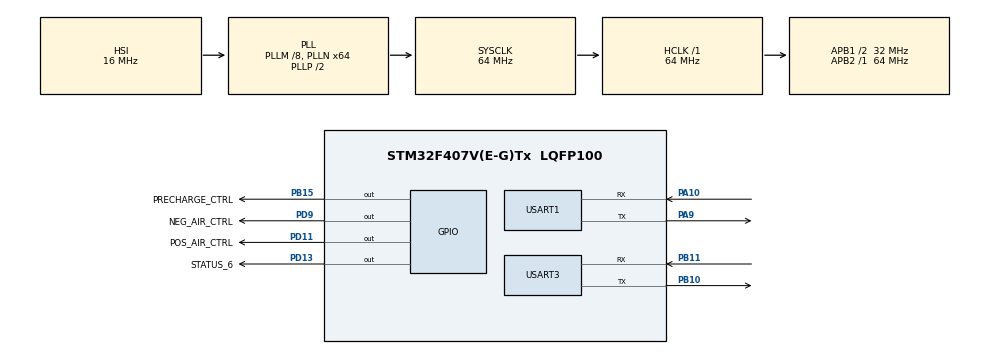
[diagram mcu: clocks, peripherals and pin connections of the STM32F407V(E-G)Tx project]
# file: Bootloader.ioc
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Mcu.Family=STM32F4
Mcu.Name=STM32F407V(E-G)Tx
Mcu.Package=LQFP100
NVIC.PriorityGroup=NVIC_PRIORITYGROUP_4
NVIC.USART1_IRQn=true\:0\:0\:false\:false\:true\:true\:true\:true
PA10.Mode=Asynchronous
PA10.Signal=USART1_RX
PA13.Mode=Serial_Wire
PA13.Signal=SYS_JTMS-SWDIO
PA14.Mode=Serial_Wire
PA14.Signal=SYS_JTCK-SWCLK
PA9.Mode=Asynchronous
PA9.Signal=USART1_TX
PB10.Mode=Asynchronous
PB10.Signal=USART3_TX
PB11.Mode=Asynchronous
PB11.Signal=USART3_RX
PB15.GPIO_Label=PRECHARGE_CTRL
PB15.GPIO_ModeDefaultOutputPP=GPIO_MODE_OUTPUT_OD
PB15.GPIO_PuPd=GPIO_NOPULL
PB15.PinState=GPIO_PIN_RESET
PB15.Signal=GPIO_Output
PD11.GPIO_Label=POS_AIR_CTRL
PD11.GPIO_ModeDefaultOutputPP=GPIO_MODE_OUTPUT_OD
PD11.GPIO_PuPd=GPIO_NOPULL
PD11.PinState=GPIO_PIN_RESET
PD11.Signal=GPIO_Output
PD13.GPIO_Label=STATUS_6
PD13.GPIO_PuPd=GPIO_NOPULL
PD13.Signal=GPIO_Output
PD9.GPIO_Label=NEG_AIR_CTRL
PD9.GPIO_ModeDefaultOutputPP=GPIO_MODE_OUTPUT_OD
PD9.GPIO_PuPd=GPIO_NOPULL
PD9.PinState=GPIO_PIN_RESET
PD9.Signal=GPIO_Output
ProjectManager.HeapSize=0x200
ProjectManager.StackSize=0x400
ProjectManager.TargetToolchain=CMake
RCC.48MHZClocksFreq_Value=32000000
RCC.AHBFreq_Value=64000000
RCC.APB1CLKDivider=RCC_HCLK_DIV2
RCC.APB1Freq_Value=32000000
RCC.APB1TimFreq_Value=64000000
RCC.APB2Freq_Value=64000000
RCC.APB2TimFreq_Value=64000000
RCC.CortexFreq_Value=64000000
RCC.HCLKFreq_Value=64000000
RCC.HSE_VALUE=25000000
RCC.HSI_VALUE=16000000
RCC.LSE_VALUE=32768
RCC.PLLM=8
RCC.PLLN=64
RCC.SYSCLKFreq_VALUE=64000000
RCC.SYSCLKSource=RCC_SYSCLKSOURCE_PLLCLK
RCC.VCOOutputFreq_Value=128000000
USART1.VirtualMode=VM_ASYNC
USART3.VirtualMode=VM_ASYNC
VP_CRC_VS_CRC.Mode=CRC_Activate
board=custom

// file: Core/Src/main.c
/* USER CODE BEGIN Header */
/**
  ******************************************************************************
  * @file           : main.c
  * @brief          : Main program body
  ******************************************************************************
  * @attention
  *
  * Copyright (c) 2026 STMicroelectronics.
  * All rights reserved.
  *
  * This software is licensed under terms that can be found in the LICENSE file
  * in the root directory of this software component.
  * If no LICENSE file comes with this software, it is provided AS-IS.
  *
  ******************************************************************************
  */
/* USER CODE END Header */
#include "main.h"

/* USER CODE BEGIN Includes */
#include <stdbool.h>
#include <string.h>

/* USER CODE END Includes */

/* USER CODE BEGIN PTD */
typedef struct
{
  uint8_t command;
  uint16_t sequence;
  uint16_t length;
  uint8_t payload[260];
} boot_frame_t;

typedef enum
{
  FRAME_OK = 0,
  FRAME_TIMEOUT,
  FRAME_BAD_LENGTH,
  FRAME_BAD_CRC,
  FRAME_INCOMPLETE
} frame_result_t;

typedef struct
{
  uint8_t buffer[2U + 6U + 260U + 2U];
  uint16_t index;
  uint16_t expected_length;
} boot_stream_parser_t;

typedef struct
{
  uint32_t magic;
  uint32_t magic_inverse;
  uint32_t image_length;
  uint32_t image_crc32;
  uint32_t crc_inverse;
} app_metadata_t;

/* USER CODE END PTD */

/* USER CODE BEGIN PD */
#define APP_START_ADDRESS       0x08010000UL
#define APP_CONFIG_ADDRESS      0x080C0000UL
#define APP_METADATA_ADDRESS    0x080FFF00UL
#define APP_MAX_IMAGE_SIZE      (APP_CONFIG_ADDRESS - APP_START_ADDRESS)
#define APP_METADATA_MAGIC      0xB00710ADUL
#define BOOT_REQUEST_MAGIC      0xB007B007UL

#define MAIN_SRAM_START         0x20000000UL
#define MAIN_SRAM_END           0x20020000UL
#define CCM_SRAM_START          0x10000000UL
#define CCM_SRAM_END            0x10010000UL

#define BOOT_MAGIC_0            0xB5U
#define BOOT_MAGIC_1            0x4DU
#define BOOT_PROTOCOL_VERSION   1U
#define BOOT_MAX_PAYLOAD        260U
#define BOOT_WAIT_MS            500U
#define BOOT_FRAME_TIMEOUT_MS   1000U
#define BOOT_SESSION_IDLE_MS    5000U
#define BOOT_IMAGE_READY_MS     6000U

#define BOOT_CMD_HELLO          0x30U
#define BOOT_CMD_BEGIN          0x31U
#define BOOT_CMD_DATA           0x32U
#define BOOT_CMD_END            0x33U
#define BOOT_CMD_RUN            0x34U
#define BOOT_MSG_ACK            0x02U
#define BOOT_MSG_NACK           0x03U

#define BOOT_RESULT_OK          0U
#define BOOT_RESULT_BAD_CRC     1U
#define BOOT_RESULT_BAD_LENGTH  2U
#define BOOT_RESULT_BAD_COMMAND 3U
#define BOOT_RESULT_BAD_STATE   4U
#define BOOT_RESULT_BAD_SEQ     5U
#define BOOT_RESULT_FLASH       6U
#define BOOT_RESULT_IMAGE_CRC   7U
#define BOOT_RESULT_VECTOR      8U

/* USER CODE END PD */

CRC_HandleTypeDef hcrc;

UART_HandleTypeDef huart1;
UART_HandleTypeDef huart3;

/* USER CODE BEGIN PV */
static boot_frame_t rx_frame;
static boot_stream_parser_t detection_parsers[2];
static UART_HandleTypeDef *boot_uart;
/* IAP 收帧同时轮询这两个口：USART1(PA9/PA10) 与 USART3(PB10/PB11)，与 APP 侧
 * 的主机链路一致（APP 用 telemetry_serial_init(&huart1, &huart3)）。
 * 首帧从哪个口进来，本次升级会话就固定用哪个口回 ACK / 收数据 / 收 RUN。 */
static UART_HandleTypeDef *const boot_ports[] = {&huart1, &huart3};
#define BOOT_PORT_COUNT (sizeof(boot_ports) / sizeof(boot_ports[0]))

/* USER CODE END PV */

void SystemClock_Config(void);
static void MX_GPIO_Init(void);
static void MX_CRC_Init(void);
static void MX_USART3_UART_Init(void);
static void MX_USART1_UART_Init(void);
/* USER CODE BEGIN PFP */
static uint16_t get_u16_le(const uint8_t *data);
static uint32_t get_u32_le(const uint8_t *data);
static void put_u16_le(uint8_t *data, uint16_t value);
static uint16_t crc16_modbus(const uint8_t *data, uint32_t length);
static uint32_t crc32_ieee(const uint8_t *data, uint32_t length);
static frame_result_t receive_frame(UART_HandleTypeDef *uart, boot_frame_t *frame,
                                    uint32_t first_byte_timeout);
static frame_result_t parser_feed(boot_stream_parser_t *parser, uint8_t byte,
                                  boot_frame_t *frame);
static frame_result_t receive_frame_any(boot_frame_t *frame, uint32_t timeout);
static void send_response(uint8_t command, uint16_t sequence, uint8_t result,
                          uint16_t expected_sequence);
static bool consume_boot_request(void);
static bool app_vector_is_valid(uint32_t image_length);
static bool app_image_is_valid(void);
static bool erase_app_sectors(void);
static bool program_flash_bytes(uint32_t address, const uint8_t *data, uint32_t length);
static bool write_app_metadata(uint32_t image_length, uint32_t image_crc32);
static void run_upgrade_session(uint16_t expected_sequence, uint16_t hello_sequence);
static void jump_to_app(void) __attribute__((noreturn));

/* USER CODE END PFP */

/* USER CODE BEGIN 0 */
static uint16_t get_u16_le(const uint8_t *data)
{
  return (uint16_t)data[0] | ((uint16_t)data[1] << 8);
}

static uint32_t get_u32_le(const uint8_t *data)
{
  return (uint32_t)data[0] | ((uint32_t)data[1] << 8) |
         ((uint32_t)data[2] << 16) | ((uint32_t)data[3] << 24);
}

static void put_u16_le(uint8_t *data, uint16_t value)
{
  data[0] = (uint8_t)value;
  data[1] = (uint8_t)(value >> 8);
}

static uint16_t crc16_modbus(const uint8_t *data, uint32_t length)
{
  uint16_t crc = 0xFFFFU;

  while (length-- > 0U)
  {
    crc ^= *data++;
    for (uint8_t bit = 0; bit < 8U; ++bit)
    {
      crc = (crc & 1U) ? (uint16_t)((crc >> 1) ^ 0xA001U) : (uint16_t)(crc >> 1);
    }
  }
  return crc;
}

/* Standard reflected CRC-32: polynomial 0xEDB88320, init/final XOR 0xFFFFFFFF. */
static uint32_t crc32_ieee(const uint8_t *data, uint32_t length)
{
  static const uint32_t nibble_table[16] = {
      0x00000000UL, 0x1DB71064UL, 0x3B6E20C8UL, 0x26D930ACUL,
      0x76DC4190UL, 0x6B6B51F4UL, 0x4DB26158UL, 0x5005713CUL,
      0xEDB88320UL, 0xF00F9344UL, 0xD6D6A3E8UL, 0xCB61B38CUL,
      0x9B64C2B0UL, 0x86D3D2D4UL, 0xA00AE278UL, 0xBDBDF21CUL,
  };
  uint32_t crc = 0xFFFFFFFFUL;

  while (length-- > 0U)
  {
    crc ^= *data++;
    crc = (crc >> 4) ^ nibble_table[crc & 0x0FUL];
    crc = (crc >> 4) ^ nibble_table[crc & 0x0FUL];
  }
  return crc ^ 0xFFFFFFFFUL;
}

static frame_result_t receive_frame(UART_HandleTypeDef *uart, boot_frame_t *frame,
                                    uint32_t first_byte_timeout)
{
  uint8_t byte = 0U;
  uint8_t header[6];
  uint8_t crc_bytes[2];
  uint8_t crc_input[6U + BOOT_MAX_PAYLOAD];
  uint32_t start = HAL_GetTick();
  bool have_first_magic = false;

  if (__HAL_UART_GET_FLAG(uart, UART_FLAG_ORE) != RESET)
  {
    __HAL_UART_CLEAR_OREFLAG(uart);
  }

  for (;;)
  {
    uint32_t timeout = first_byte_timeout;
    if (first_byte_timeout != HAL_MAX_DELAY)
    {
      uint32_t elapsed = HAL_GetTick() - start;
      if (elapsed >= first_byte_timeout)
      {
        return FRAME_TIMEOUT;
      }
      timeout = first_byte_timeout - elapsed;
    }

    if (HAL_UART_Receive(uart, &byte, 1U, timeout) != HAL_OK)
    {
      return FRAME_TIMEOUT;
    }

    if (!have_first_magic)
    {
      have_first_magic = (byte == BOOT_MAGIC_0);
      continue;
    }
    if (byte == BOOT_MAGIC_1)
    {
      break;
    }
    have_first_magic = (byte == BOOT_MAGIC_0);
  }

  if (HAL_UART_Receive(uart, header, sizeof(header), BOOT_FRAME_TIMEOUT_MS) != HAL_OK)
  {
    return FRAME_TIMEOUT;
  }

  frame->command = header[1];
  frame->sequence = get_u16_le(&header[2]);
  frame->length = get_u16_le(&header[4]);
  if ((header[0] != BOOT_PROTOCOL_VERSION) || (frame->length > BOOT_MAX_PAYLOAD))
  {
    return FRAME_BAD_LENGTH;
  }

  if ((frame->length > 0U) &&
      (HAL_UART_Receive(uart, frame->payload, frame->length, BOOT_FRAME_TIMEOUT_MS) != HAL_OK))
  {
    return FRAME_TIMEOUT;
  }
  if (HAL_UART_Receive(uart, crc_bytes, sizeof(crc_bytes), BOOT_FRAME_TIMEOUT_MS) != HAL_OK)
  {
    return FRAME_TIMEOUT;
  }

  memcpy(crc_input, header, sizeof(header));
  memcpy(&crc_input[sizeof(header)], frame->payload, frame->length);
  if (crc16_modbus(crc_input, sizeof(header) + frame->length) != get_u16_le(crc_bytes))
  {
    return FRAME_BAD_CRC;
  }
  return FRAME_OK;
}

static frame_result_t parser_feed(boot_stream_parser_t *parser, uint8_t byte,
                                  boot_frame_t *frame)
{
  if (parser->index == 0U)
  {
    if (byte == BOOT_MAGIC_0)
    {
      parser->buffer[parser->index++] = byte;
    }
    return FRAME_INCOMPLETE;
  }

  if (parser->index == 1U)
  {
    if (byte == BOOT_MAGIC_1)
    {
      parser->buffer[parser->index++] = byte;
    }
    else
    {
      parser->index = (byte == BOOT_MAGIC_0) ? 1U : 0U;
      parser->buffer[0] = BOOT_MAGIC_0;
    }
    return FRAME_INCOMPLETE;
  }

  if (parser->index >= sizeof(parser->buffer))
  {
    parser->index = 0U;
    parser->expected_length = 0U;
    return FRAME_BAD_LENGTH;
  }
  parser->buffer[parser->index++] = byte;

  if (parser->index == 8U)
  {
    frame->command = parser->buffer[3];
    frame->sequence = get_u16_le(&parser->buffer[4]);
    frame->length = get_u16_le(&parser->buffer[6]);
    if ((parser->buffer[2] != BOOT_PROTOCOL_VERSION) ||
        (frame->length > BOOT_MAX_PAYLOAD))
    {
      parser->index = 0U;
      parser->expected_length = 0U;
      return FRAME_BAD_LENGTH;
    }
    parser->expected_length = (uint16_t)(2U + 6U + frame->length + 2U);
  }

  if ((parser->expected_length > 0U) && (parser->index >= parser->expected_length))
  {
    uint16_t received_crc = get_u16_le(&parser->buffer[8U + frame->length]);
    uint16_t computed_crc = crc16_modbus(&parser->buffer[2], 6U + frame->length);
    if (frame->length > 0U)
    {
      memcpy(frame->payload, &parser->buffer[8], frame->length);
    }
    parser->index = 0U;
    parser->expected_length = 0U;
    return (received_crc == computed_crc) ? FRAME_OK : FRAME_BAD_CRC;
  }
  return FRAME_INCOMPLETE;
}

static frame_result_t receive_frame_any(boot_frame_t *frame, uint32_t timeout)
{
  uint32_t start = HAL_GetTick();

  for (;;)
  {
    for (uint32_t port = 0U; port < BOOT_PORT_COUNT; ++port)
    {
      UART_HandleTypeDef *uart = boot_ports[port];
      if (__HAL_UART_GET_FLAG(uart, UART_FLAG_ORE) != RESET)
      {
        __HAL_UART_CLEAR_OREFLAG(uart);
      }
      if (__HAL_UART_GET_FLAG(uart, UART_FLAG_RXNE) != RESET)
      {
        uint8_t byte = (uint8_t)(uart->Instance->DR & 0xFFU);
        frame_result_t result = parser_feed(&detection_parsers[port], byte, frame);
        if (result != FRAME_INCOMPLETE)
        {
          boot_uart = uart;
          return result;
        }
      }
    }

    if ((timeout != HAL_MAX_DELAY) && ((HAL_GetTick() - start) >= timeout))
    {
      return FRAME_TIMEOUT;
    }
  }
}

static bool consume_boot_request(void)
{
  bool requested;

  __HAL_RCC_PWR_CLK_ENABLE();
  HAL_PWR_EnableBkUpAccess();
  requested = (RTC->BKP0R == BOOT_REQUEST_MAGIC) &&
              (RTC->BKP1R == ~BOOT_REQUEST_MAGIC);
  if (requested)
  {
    RTC->BKP0R = 0U;
    RTC->BKP1R = 0U;
  }
  HAL_PWR_DisableBkUpAccess();
  return requested;
}

static void send_response(uint8_t command, uint16_t sequence, uint8_t result,
                          uint16_t expected_sequence)
{
  uint8_t frame[16];
  const uint16_t payload_length = 6U;
  const uint8_t message_type = (result == BOOT_RESULT_OK) ? BOOT_MSG_ACK : BOOT_MSG_NACK;

  frame[0] = BOOT_MAGIC_0;
  frame[1] = BOOT_MAGIC_1;
  frame[2] = BOOT_PROTOCOL_VERSION;
  frame[3] = message_type;
  put_u16_le(&frame[4], sequence);
  put_u16_le(&frame[6], payload_length);
  put_u16_le(&frame[8], sequence);
  frame[10] = command;
  frame[11] = result;
  put_u16_le(&frame[12], expected_sequence);
  put_u16_le(&frame[14], crc16_modbus(&frame[2], 12U));
  if (boot_uart != NULL)
  {
    (void)HAL_UART_Transmit(boot_uart, frame, sizeof(frame), BOOT_FRAME_TIMEOUT_MS);
  }
}

static bool app_vector_is_valid(uint32_t image_length)
{
  uint32_t stack = *(volatile const uint32_t *)APP_START_ADDRESS;
  uint32_t reset = *(volatile const uint32_t *)(APP_START_ADDRESS + 4U);
  uint32_t reset_address = reset & ~1UL;
  bool stack_in_main_sram = (stack > MAIN_SRAM_START) && (stack <= MAIN_SRAM_END);
  bool stack_in_ccm_sram = (stack > CCM_SRAM_START) && (stack <= CCM_SRAM_END);

  if ((image_length < 8U) || (image_length > APP_MAX_IMAGE_SIZE))
  {
    return false;
  }
  if (((stack & 7UL) != 0U) || (!stack_in_main_sram && !stack_in_ccm_sram))
  {
    return false;
  }
  if (((reset & 1UL) == 0U) || (reset_address < APP_START_ADDRESS) ||
      (reset_address >= (APP_START_ADDRESS + image_length)))
  {
    return false;
  }
  return true;
}

static bool app_image_is_valid(void)
{
  const volatile app_metadata_t *metadata =
      (const volatile app_metadata_t *)APP_METADATA_ADDRESS;

  if ((metadata->magic != APP_METADATA_MAGIC) ||
      (metadata->magic_inverse != ~APP_METADATA_MAGIC) ||
      (metadata->crc_inverse != ~metadata->image_crc32) ||
      !app_vector_is_valid(metadata->image_length))
  {
    return false;
  }
  return crc32_ieee((const uint8_t *)APP_START_ADDRESS, metadata->image_length) ==
         metadata->image_crc32;
}

static bool erase_app_sectors(void)
{
  FLASH_EraseInitTypeDef erase = {0};
  uint32_t sector_error = 0U;
  HAL_StatusTypeDef status;

  if (HAL_FLASH_Unlock() != HAL_OK)
  {
    return false;
  }
  __HAL_FLASH_CLEAR_FLAG(FLASH_FLAG_EOP | FLASH_FLAG_OPERR | FLASH_FLAG_WRPERR |
                         FLASH_FLAG_PGAERR | FLASH_FLAG_PGPERR | FLASH_FLAG_PGSERR);
  erase.TypeErase = FLASH_TYPEERASE_SECTORS;
  erase.VoltageRange = FLASH_VOLTAGE_RANGE_3;
  erase.Sector = FLASH_SECTOR_4;
  /* 只擦 4~9（0x08010000..0x080BFFFF，共 704KB = APP 链接脚本的 FLASH LENGTH）。
   * 必须**止步于 Sector 9**：Sector 10 (0x080C0000) 是 APP 的持久化配置/SOC 追加区
   * （APP_CONFIG_ADDRESS，见 bms_config.h），之前连擦到 Sector 11 会把 total_ic、
   * 保护阈值和 SOC 一起抹掉，每次 OTA 后静默回默认值。
   * Sector 11 (0x080FFF00 元数据) 也不在擦除范围：由 write_app_metadata() 显式改写，
   * 且旧的 image_crc32 对不上已被擦成 0xFF 的镜像，启动校验自然失败。 */
  erase.NbSectors = 6U;
  status = HAL_FLASHEx_Erase(&erase, &sector_error);
  (void)HAL_FLASH_Lock();
  return (status == HAL_OK) && (sector_error == 0xFFFFFFFFUL);
}

static bool program_flash_bytes(uint32_t address, const uint8_t *data, uint32_t length)
{
  uint32_t end = address + length;

  if ((length == 0U) || (address < APP_START_ADDRESS) || (end < address) ||
      (end > APP_CONFIG_ADDRESS))
  {
    return false;
  }
  if (HAL_FLASH_Unlock() != HAL_OK)
  {
    return false;
  }

  for (uint32_t index = 0U; index < length; ++index)
  {
    if (HAL_FLASH_Program(FLASH_TYPEPROGRAM_BYTE, address + index, data[index]) != HAL_OK)
    {
      (void)HAL_FLASH_Lock();
      return false;
    }
  }
  (void)HAL_FLASH_Lock();
  return memcmp((const void *)address, data, length) == 0;
}

static bool write_app_metadata(uint32_t image_length, uint32_t image_crc32)
{
  uint32_t values[5] = {
      APP_METADATA_MAGIC,
      ~APP_METADATA_MAGIC,
      image_length,
      image_crc32,
      ~image_crc32,
  };

  if (HAL_FLASH_Unlock() != HAL_OK)
  {
    return false;
  }

  /* Write the magic last: a reset at any earlier point leaves the APP invalid. */
  for (uint32_t index = 1U; index < 5U; ++index)
  {
    if (HAL_FLASH_Program(FLASH_TYPEPROGRAM_WORD,
                          APP_METADATA_ADDRESS + index * sizeof(uint32_t), values[index]) != HAL_OK)
    {
      (void)HAL_FLASH_Lock();
      return false;
    }
  }
  if (HAL_FLASH_Program(FLASH_TYPEPROGRAM_WORD, APP_METADATA_ADDRESS, values[0]) != HAL_OK)
  {
    (void)HAL_FLASH_Lock();
    return false;
  }
  (void)HAL_FLASH_Lock();
  return true;
}

static void jump_to_app(void)
{
  uint32_t app_stack = *(volatile const uint32_t *)APP_START_ADDRESS;
  uint32_t app_reset = *(volatile const uint32_t *)(APP_START_ADDRESS + 4U);

  __disable_irq();
  (void)HAL_UART_DeInit(&huart1);
  (void)HAL_UART_DeInit(&huart3);
  (void)HAL_CRC_DeInit(&hcrc);
  (void)HAL_DeInit();
  (void)HAL_RCC_DeInit();

  SysTick->CTRL = 0U;
  SysTick->LOAD = 0U;
  SysTick->VAL = 0U;
  SCB->ICSR = SCB_ICSR_PENDSTCLR_Msk | SCB_ICSR_PENDSVCLR_Msk;

  for (uint32_t index = 0U; index < 8U; ++index)
  {
    NVIC->ICER[index] = 0xFFFFFFFFUL;
    NVIC->ICPR[index] = 0xFFFFFFFFUL;
  }

  SCB->VTOR = APP_START_ADDRESS;
  __set_CONTROL(0U);
  __set_PSP(0U);
  __DSB();
  __ISB();

  /* Do not execute C code after changing MSP: the compiler may use the old frame. */
  __asm volatile(
      "msr msp, %0\n"
      "cpsie i\n"
      "bx %1\n"
      :
      : "r"(app_stack), "r"(app_reset)
      : "memory");
  __builtin_unreachable();
}

static void run_upgrade_session(uint16_t expected_sequence, uint16_t hello_sequence)
{
  enum { WAIT_BEGIN, RECEIVE_IMAGE, IMAGE_READY } state = WAIT_BEGIN;
  uint16_t last_acked_sequence = hello_sequence;
  uint8_t last_acked_command = BOOT_CMD_HELLO;
  uint32_t expected_length = 0U;
  uint32_t expected_crc32 = 0U;
  uint32_t bytes_written = 0U;
  uint32_t image_ready_started = 0U;

  for (;;)
  {
    uint32_t idle_timeout = BOOT_SESSION_IDLE_MS;
    if (state == IMAGE_READY)
    {
      uint32_t ready_elapsed = HAL_GetTick() - image_ready_started;
      if (ready_elapsed >= BOOT_IMAGE_READY_MS)
      {
        jump_to_app();
      }
      idle_timeout = BOOT_IMAGE_READY_MS - ready_elapsed;
    }
    frame_result_t frame_status = receive_frame(boot_uart, &rx_frame, idle_timeout);

    if (frame_status == FRAME_TIMEOUT)
    {
      if (state == IMAGE_READY || ((state == WAIT_BEGIN) && app_image_is_valid()))
      {
        jump_to_app();
      }

      /* APP 已被擦除时返回握手阶段，允许主机重新建立完整升级会话。 */
      return;
    }

    if (frame_status == FRAME_BAD_CRC)
    {
      send_response(rx_frame.command, rx_frame.sequence, BOOT_RESULT_BAD_CRC,
                    expected_sequence);
      continue;
    }
    if (frame_status == FRAME_BAD_LENGTH)
    {
      send_response(rx_frame.command, rx_frame.sequence, BOOT_RESULT_BAD_LENGTH,
                    expected_sequence);
      continue;
    }
    if (frame_status != FRAME_OK)
    {
      continue;
    }

    if ((rx_frame.sequence == last_acked_sequence) &&
        (rx_frame.command == last_acked_command))
    {
      send_response(rx_frame.command, rx_frame.sequence, BOOT_RESULT_OK,
                    expected_sequence);
      continue;
    }
    if (rx_frame.sequence != expected_sequence)
    {
      send_response(rx_frame.command, rx_frame.sequence, BOOT_RESULT_BAD_SEQ,
                    expected_sequence);
      continue;
    }

    uint8_t result = BOOT_RESULT_OK;
    switch (rx_frame.command)
    {
      case BOOT_CMD_BEGIN:
        if (rx_frame.length != 8U)
        {
          result = BOOT_RESULT_BAD_LENGTH;
          break;
        }
        expected_length = get_u32_le(&rx_frame.payload[0]);
        expected_crc32 = get_u32_le(&rx_frame.payload[4]);
        if ((expected_length < 8U) || (expected_length > APP_MAX_IMAGE_SIZE))
        {
          result = BOOT_RESULT_BAD_LENGTH;
          break;
        }
        if (!erase_app_sectors())
        {
          state = WAIT_BEGIN;
          result = BOOT_RESULT_FLASH;
          break;
        }
        bytes_written = 0U;
        state = RECEIVE_IMAGE;
        break;

      case BOOT_CMD_DATA:
      {
        if (state != RECEIVE_IMAGE)
        {
          result = BOOT_RESULT_BAD_STATE;
          break;
        }
        if (rx_frame.length <= 4U)
        {
          result = BOOT_RESULT_BAD_LENGTH;
          break;
        }
        uint32_t offset = get_u32_le(&rx_frame.payload[0]);
        uint32_t data_length = rx_frame.length - 4U;
        if ((offset != bytes_written) || (data_length > (expected_length - bytes_written)))
        {
          result = BOOT_RESULT_BAD_LENGTH;
          break;
        }
        if (!program_flash_bytes(APP_START_ADDRESS + offset, &rx_frame.payload[4], data_length))
        {
          state = WAIT_BEGIN;
          result = BOOT_RESULT_FLASH;
          break;
        }
        bytes_written += data_length;
        break;
      }

      case BOOT_CMD_END:
        if ((state != RECEIVE_IMAGE) || (rx_frame.length != 0U))
        {
          result = BOOT_RESULT_BAD_STATE;
          break;
        }
        if (bytes_written != expected_length)
        {
          result = BOOT_RESULT_BAD_LENGTH;
          break;
        }
        if (crc32_ieee((const uint8_t *)APP_START_ADDRESS, expected_length) != expected_crc32)
        {
          state = WAIT_BEGIN;
          result = BOOT_RESULT_IMAGE_CRC;
          break;
        }
        if (!app_vector_is_valid(expected_length))
        {
          state = WAIT_BEGIN;
          result = BOOT_RESULT_VECTOR;
          break;
        }
        if (!write_app_metadata(expected_length, expected_crc32) || !app_image_is_valid())
        {
          state = WAIT_BEGIN;
          result = BOOT_RESULT_FLASH;
          break;
        }
        state = IMAGE_READY;
        image_ready_started = HAL_GetTick();
        break;

      case BOOT_CMD_RUN:
        if ((state != IMAGE_READY) || (rx_frame.length != 0U))
        {
          result = BOOT_RESULT_BAD_STATE;
          break;
        }
        send_response(rx_frame.command, rx_frame.sequence, BOOT_RESULT_OK,
                      (uint16_t)(expected_sequence + 1U));
        HAL_Delay(20U);
        jump_to_app();
        break;

      default:
        result = BOOT_RESULT_BAD_COMMAND;
        break;
    }

    if (result == BOOT_RESULT_OK)
    {
      last_acked_sequence = rx_frame.sequence;
      last_acked_command = rx_frame.command;
      ++expected_sequence;
    }
    /* A successful response advertises the sequence number of the next command. */
    send_response(rx_frame.command, rx_frame.sequence, result, expected_sequence);
  }
}

/* USER CODE END 0 */

int main(void)
{

  /* MCU Configuration--------------------------------------------------------*/

  /* Reset of all peripherals, Initializes the Flash interface and the Systick. */
  HAL_Init();

  /* Configure the system clock */
  SystemClock_Config();

  /* Initialize all configured peripherals */
  MX_GPIO_Init();
  MX_CRC_Init();
  MX_USART3_UART_Init();
  MX_USART1_UART_Init();
  /* USER CODE BEGIN 2 */
  boot_uart = NULL;
  bool force_upgrade = consume_boot_request();
  bool valid_app = app_image_is_valid();
  uint32_t wait_started = HAL_GetTick();

  HAL_GPIO_WritePin(STATUS_6_GPIO_Port, STATUS_6_Pin, GPIO_PIN_SET);

  for (;;)
  {
    uint32_t timeout = HAL_MAX_DELAY;
    if (valid_app && !force_upgrade)
    {
      uint32_t elapsed = HAL_GetTick() - wait_started;
      if (elapsed >= BOOT_WAIT_MS)
      {
        jump_to_app();
      }
      timeout = BOOT_WAIT_MS - elapsed;
    }

    frame_result_t frame_status = receive_frame_any(&rx_frame, timeout);
    if (frame_status == FRAME_TIMEOUT)
    {
      if (valid_app && !force_upgrade)
      {
        jump_to_app();
      }
      continue;
    }
    if (frame_status == FRAME_BAD_CRC)
    {
      send_response(rx_frame.command, rx_frame.sequence, BOOT_RESULT_BAD_CRC, 0U);
      continue;
    }
    if (frame_status == FRAME_BAD_LENGTH)
    {
      send_response(rx_frame.command, rx_frame.sequence, BOOT_RESULT_BAD_LENGTH, 0U);
      continue;
    }
    if ((rx_frame.command != BOOT_CMD_HELLO) || (rx_frame.length != 0U))
    {
      send_response(rx_frame.command, rx_frame.sequence, BOOT_RESULT_BAD_COMMAND, 0U);
      continue;
    }

    uint16_t expected_sequence = (uint16_t)(rx_frame.sequence + 1U);
    send_response(rx_frame.command, rx_frame.sequence, BOOT_RESULT_OK, expected_sequence);
    run_upgrade_session(expected_sequence, rx_frame.sequence);
    valid_app = app_image_is_valid();
    force_upgrade = false;
    wait_started = HAL_GetTick();
  }

  /* USER CODE END 2 */

  /* Infinite loop */
  while (1)
  {

  }
}

void SystemClock_Config(void)
{
  RCC_OscInitTypeDef RCC_OscInitStruct = {0};
  RCC_ClkInitTypeDef RCC_ClkInitStruct = {0};

  /** Configure the main internal regulator output voltage
  */
  __HAL_RCC_PWR_CLK_ENABLE();
  __HAL_PWR_VOLTAGESCALING_CONFIG(PWR_REGULATOR_VOLTAGE_SCALE1);

  /** Initializes the RCC Oscillators according to the specified parameters
  * in the RCC_OscInitTypeDef structure.
  */
  RCC_OscInitStruct.OscillatorType = RCC_OSCILLATORTYPE_HSI;
  RCC_OscInitStruct.HSIState = RCC_HSI_ON;
  RCC_OscInitStruct.HSICalibrationValue = RCC_HSICALIBRATION_DEFAULT;
  RCC_OscInitStruct.PLL.PLLState = RCC_PLL_ON;
  RCC_OscInitStruct.PLL.PLLSource = RCC_PLLSOURCE_HSI;
  RCC_OscInitStruct.PLL.PLLM = 8;
  RCC_OscInitStruct.PLL.PLLN = 64;
  RCC_OscInitStruct.PLL.PLLP = RCC_PLLP_DIV2;
  RCC_OscInitStruct.PLL.PLLQ = 4;
  if (HAL_RCC_OscConfig(&RCC_OscInitStruct) != HAL_OK)
  {
    Error_Handler();
  }

  /** Initializes the CPU, AHB and APB buses clocks
  */
  RCC_ClkInitStruct.ClockType = RCC_CLOCKTYPE_HCLK|RCC_CLOCKTYPE_SYSCLK
                              |RCC_CLOCKTYPE_PCLK1|RCC_CLOCKTYPE_PCLK2;
  RCC_ClkInitStruct.SYSCLKSource = RCC_SYSCLKSOURCE_PLLCLK;
  RCC_ClkInitStruct.AHBCLKDivider = RCC_SYSCLK_DIV1;
  RCC_ClkInitStruct.APB1CLKDivider = RCC_HCLK_DIV2;
  RCC_ClkInitStruct.APB2CLKDivider = RCC_HCLK_DIV1;

  if (HAL_RCC_ClockConfig(&RCC_ClkInitStruct, FLASH_LATENCY_2) != HAL_OK)
  {
    Error_Handler();
  }
}

static void MX_CRC_Init(void)
{

  hcrc.Instance = CRC;
  if (HAL_CRC_Init(&hcrc) != HAL_OK)
  {
    Error_Handler();
  }

}

static void MX_USART1_UART_Init(void)
{

  huart1.Instance = USART1;
  huart1.Init.BaudRate = 115200;
  huart1.Init.WordLength = UART_WORDLENGTH_8B;
  huart1.Init.StopBits = UART_STOPBITS_1;
  huart1.Init.Parity = UART_PARITY_NONE;
  huart1.Init.Mode = UART_MODE_TX_RX;
  huart1.Init.HwFlowCtl = UART_HWCONTROL_NONE;
  huart1.Init.OverSampling = UART_OVERSAMPLING_16;
  if (HAL_UART_Init(&huart1) != HAL_OK)
  {
    Error_Handler();
  }

}

static void MX_USART3_UART_Init(void)
{

  huart3.Instance = USART3;
  huart3.Init.BaudRate = 115200;
  huart3.Init.WordLength = UART_WORDLENGTH_8B;
  huart3.Init.StopBits = UART_STOPBITS_1;
  huart3.Init.Parity = UART_PARITY_NONE;
  huart3.Init.Mode = UART_MODE_TX_RX;
  huart3.Init.HwFlowCtl = UART_HWCONTROL_NONE;
  huart3.Init.OverSampling = UART_OVERSAMPLING_16;
  if (HAL_UART_Init(&huart3) != HAL_OK)
  {
    Error_Handler();
  }

}

static void MX_GPIO_Init(void)
{
  GPIO_InitTypeDef GPIO_InitStruct = {0};

  /* GPIO Ports Clock Enable */
  __HAL_RCC_GPIOB_CLK_ENABLE();
  __HAL_RCC_GPIOD_CLK_ENABLE();
  __HAL_RCC_GPIOA_CLK_ENABLE();

  /*Configure GPIO pin Output Level */
  HAL_GPIO_WritePin(PRECHARGE_CTRL_GPIO_Port, PRECHARGE_CTRL_Pin, GPIO_PIN_RESET);

  /*Configure GPIO pin Output Level */
  HAL_GPIO_WritePin(GPIOD, NEG_AIR_CTRL_Pin|POS_AIR_CTRL_Pin|STATUS_6_Pin, GPIO_PIN_RESET);

  /*Configure GPIO pin : PRECHARGE_CTRL_Pin */
  GPIO_InitStruct.Pin = PRECHARGE_CTRL_Pin;
  GPIO_InitStruct.Mode = GPIO_MODE_OUTPUT_OD;
  GPIO_InitStruct.Pull = GPIO_NOPULL;
  GPIO_InitStruct.Speed = GPIO_SPEED_FREQ_LOW;
  HAL_GPIO_Init(PRECHARGE_CTRL_GPIO_Port, &GPIO_InitStruct);

  /*Configure GPIO pins : NEG_AIR_CTRL_Pin POS_AIR_CTRL_Pin */
  GPIO_InitStruct.Pin = NEG_AIR_CTRL_Pin|POS_AIR_CTRL_Pin;
  GPIO_InitStruct.Mode = GPIO_MODE_OUTPUT_OD;
  GPIO_InitStruct.Pull = GPIO_NOPULL;
  GPIO_InitStruct.Speed = GPIO_SPEED_FREQ_LOW;
  HAL_GPIO_Init(GPIOD, &GPIO_InitStruct);

  /*Configure GPIO pin : STATUS_6_Pin */
  GPIO_InitStruct.Pin = STATUS_6_Pin;
  GPIO_InitStruct.Mode = GPIO_MODE_OUTPUT_PP;
  GPIO_InitStruct.Pull = GPIO_NOPULL;
  GPIO_InitStruct.Speed = GPIO_SPEED_FREQ_LOW;
  HAL_GPIO_Init(STATUS_6_GPIO_Port, &GPIO_InitStruct);

}

void Error_Handler(void)
{
  __disable_irq();
  while (1)
  {
  }
}
